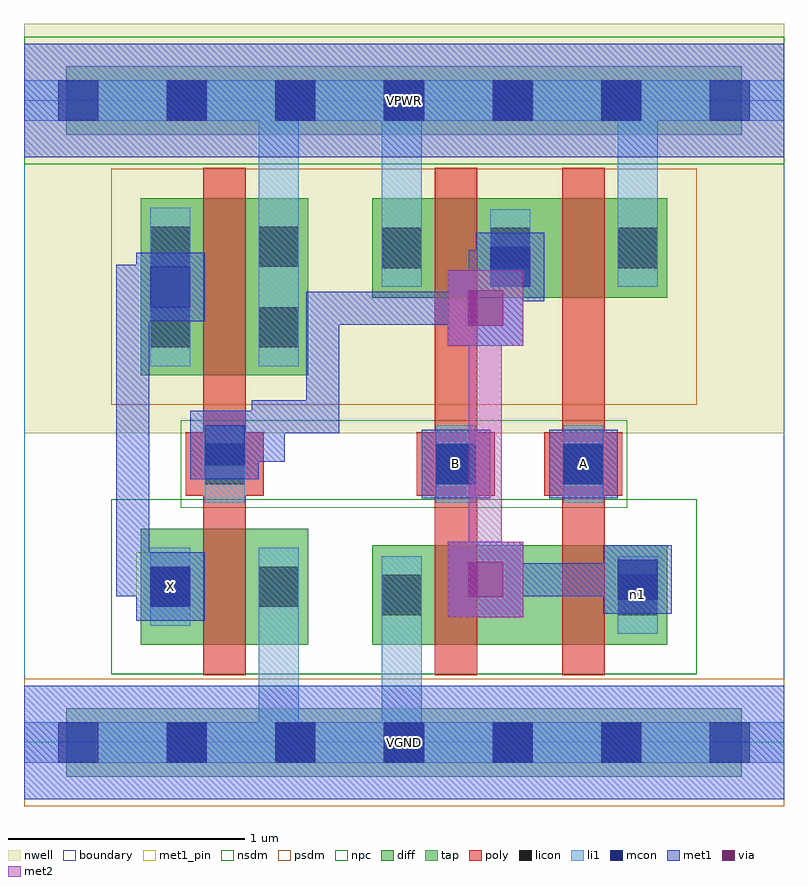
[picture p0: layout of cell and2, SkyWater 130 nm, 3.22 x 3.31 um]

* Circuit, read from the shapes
.subckt and2 A B VGND VPWR X n1
XM1 VGND n1 X VGND sky130_fd_pr__nfet_01v8 w=0.49 l=0.18
XM2 n2 B VGND VGND sky130_fd_pr__nfet_01v8 w=0.42 l=0.18
XM3 n1 A n2 VGND sky130_fd_pr__nfet_01v8 w=0.42 l=0.18
XM4 VPWR n1 X VPWR sky130_fd_pr__pfet_01v8 w=0.75 l=0.18
XM5 n1 B VPWR VPWR sky130_fd_pr__pfet_01v8 w=0.42 l=0.18
XM6 VPWR A n1 VPWR sky130_fd_pr__pfet_01v8 w=0.42 l=0.18
.ends

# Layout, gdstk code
import gdstk
lib = gdstk.Library(unit=1e-6, precision=1e-09)
def R(c, l, rs):  # rectangles x0, y0, x1, y1
    for r in rs: c.add(gdstk.rectangle(r[:2], r[2:], *l))
def A(c, l, x, y, w, h, nx, ny, dx, dy):  # array of equal rectangles
    R(c, l, [(x+i*dx, y+j*dy, x+i*dx+w, y+j*dy+h) for i in range(nx) for j in range(ny)])
nwell = (64, 20)
diff = (65, 20)
tap = (65, 44)
poly = (66, 20)
licon = (66, 44)
li1 = (67, 20)
mcon = (67, 44)
met1_pin = (68, 16)
met1 = (68, 20)
via = (68, 44)
met2 = (69, 20)
nsdm = (93, 44)
psdm = (94, 20)
npc = (95, 20)
boundary = (235, 4)

and2 = lib.new_cell('and2')
R(and2, nwell, [(0,1.31,3.22,3.045)])
R(and2, diff, [(0.495,0.415,1.205,0.905), (1.475,0.415,2.725,0.835), (0.495,1.555,1.205,2.305), (1.475,1.885,2.725,2.305)])
R(and2, tap, [(0.18,-0.145,3.04,0.145), (0.18,2.575,3.04,2.865)])
R(and2, poly, [(0.76,0.285,0.94,2.435), (1.74,0.285,1.92,2.435), (2.28,0.285,2.46,2.435), (0.685,1.045,1.015,1.315), (1.665,1.045,1.995,1.315), (2.205,1.045,2.535,1.315)])
A(and2, licon, 0.605, -0.085, 0.17, 0.17, 5, 2, 0.46, 2.72)
R(and2, licon, [(1.515,0.54,1.685,0.71), (2.515,0.54,2.685,0.71), (0.535,0.575,0.705,0.745), (0.995,0.575,1.165,0.745), (0.765,1.095,0.935,1.265), (1.745,1.095,1.915,1.265), (2.285,1.095,2.455,1.265), (0.535,1.675,0.705,1.845), (0.995,1.675,1.165,1.845), (1.515,2.01,1.685,2.18), (1.975,2.01,2.145,2.18), (2.515,2.01,2.685,2.18), (0.535,2.015,0.705,2.185), (0.995,2.015,1.165,2.185)])
R(and2, li1, [(0,-0.085,3.22,0.085), (0.995,-0.085,1.165,0.825), (1.515,-0.085,1.685,0.79), (1.515,0.46,1.685,0.79), (2.515,0.46,2.685,0.79), (0.535,0.495,0.705,0.825), (0.995,0.495,1.165,0.825), (0.765,1.015,0.935,1.345), (1.745,1.015,1.915,1.345), (2.285,1.015,2.455,1.345), (0.535,1.595,0.705,2.265), (0.995,1.595,1.165,2.265), (0.995,1.595,1.165,2.805), (1.515,1.93,1.685,2.26), (1.515,1.93,1.685,2.805), (1.975,1.93,2.145,2.26), (2.515,1.93,2.685,2.26), (2.515,1.93,2.685,2.805), (0,2.635,3.22,2.805)])
A(and2, mcon, 0.145, -0.085, 0.17, 0.17, 7, 2, 0.46, 2.72)
R(and2, mcon, [(0.535,0.575,0.705,0.745), (2.515,0.605,2.685,0.775), (1.745,1.095,1.915,1.265), (2.285,1.095,2.455,1.265), (0.765,1.175,0.935,1.345), (0.535,1.845,0.705,2.015), (1.975,1.93,2.145,2.1)])
R(and2, met1_pin, [(0,-0.24,3.22,0.24), (0.475,0.515,0.765,0.805), (1.685,1.035,1.975,1.325), (2.225,1.035,2.515,1.325), (0,2.48,3.22,2.96)])
R(and2, met1, [(0,-0.24,3.22,0.24), (0.475,0.515,0.765,0.805), (1.795,0.53,2.115,0.85), (2.455,0.545,2.745,0.835), (0.39,0.62,0.645,0.76), (0.39,0.62,0.53,2.025), (0.505,0.62,0.645,0.76), (1.885,0.62,2.485,0.76), (2.345,0.62,2.67,0.76), (1.685,1.035,1.975,1.325), (2.225,1.035,2.515,1.325), (0.705,1.115,0.995,1.405), (0.78,1.19,1.105,1.33), (0.965,1.19,1.105,1.45), (0.965,1.31,1.335,1.45), (1.195,1.31,1.335,1.91), (1.795,1.68,2.115,2), (1.195,1.77,2.025,1.91), (1.885,1.77,2.025,2.085), (0.475,1.785,0.765,2.075), (1.915,1.87,2.205,2.16), (0.39,1.885,0.645,2.025), (0.505,1.885,0.645,2.025), (1.885,1.945,2.13,2.085), (0,2.48,3.22,2.96)])
R(and2, via, [(1.88,0.615,2.03,0.765), (1.88,1.765,2.03,1.915)])
R(and2, met2, [(1.795,0.53,2.115,0.85), (1.885,0.62,2.025,1.91), (1.795,1.68,2.115,2)])
R(and2, nsdm, [(0.37,0.29,2.85,1.03), (0,2.45,3.22,2.99)])
R(and2, psdm, [(0,-0.27,3.22,0.27), (0.37,1.43,2.85,2.43)])
R(and2, npc, [(0.665,0.995,2.555,1.365)])
R(and2, boundary, [(0,0,3.22,2.72)])
and2.add(gdstk.Label('n1', (2.6,0.625), layer=67, texttype=5))
and2.add(gdstk.Label('A', (2.37,1.18), layer=68, texttype=5))
and2.add(gdstk.Label('B', (1.83,1.18), layer=68, texttype=5))
and2.add(gdstk.Label('X', (0.62,0.66), layer=68, texttype=5))
and2.add(gdstk.Label('VPWR', (1.61,2.72), layer=68, texttype=5))
and2.add(gdstk.Label('VGND', (1.61,0), layer=68, texttype=5))
and2.add(gdstk.Label('A', (2.37,1.18), layer=68, texttype=16))
and2.add(gdstk.Label('B', (1.83,1.18), layer=68, texttype=16))
and2.add(gdstk.Label('X', (0.62,0.66), layer=68, texttype=16))
and2.add(gdstk.Label('VPWR', (1.61,2.72), layer=68, texttype=16))
and2.add(gdstk.Label('VGND', (1.61,0), layer=68, texttype=16))

lib.write_gds('and2.gds')
